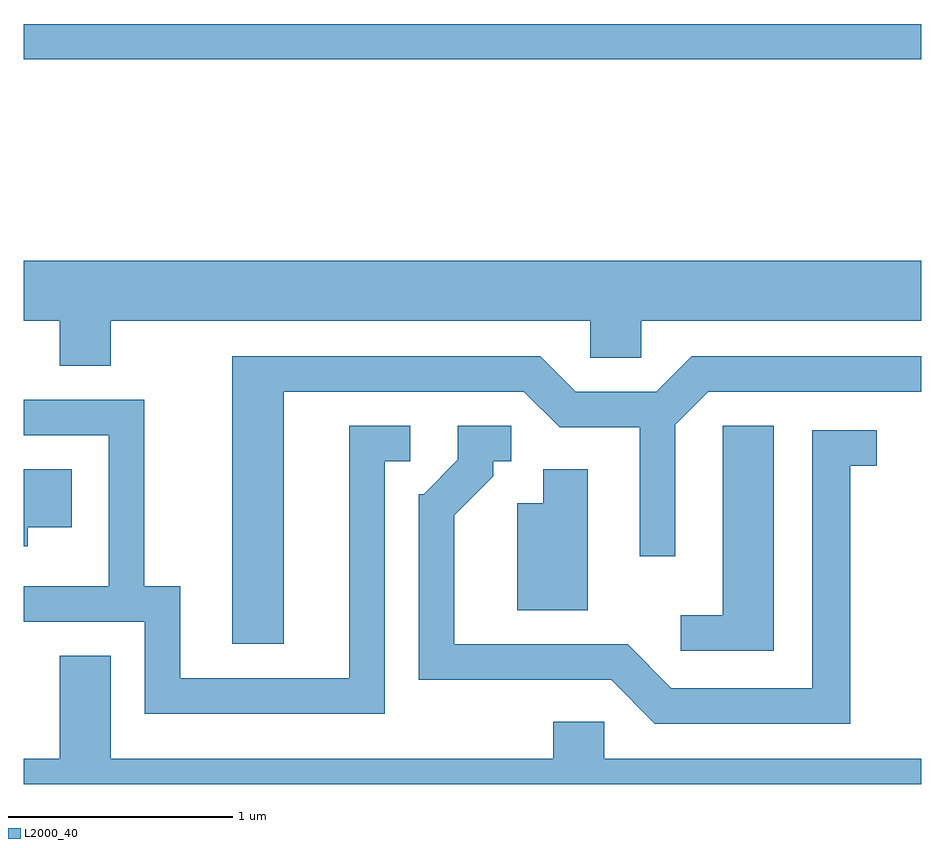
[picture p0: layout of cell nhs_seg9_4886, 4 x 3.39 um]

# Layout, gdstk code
import gdstk
lib = gdstk.Library(unit=1e-6, precision=1e-09)
def R(c, l, rs):  # rectangles x0, y0, x1, y1
    for r in rs: c.add(gdstk.rectangle(r[:2], r[2:], *l))
def P(c, l, *ps):  # polygons
    for p in ps: c.add(gdstk.Polygon(p, *l))
L2000_40 = (2000, 40)

nhs_seg9_4886 = lib.new_cell('nhs_seg9_4886')
R(nhs_seg9_4886, L2000_40, [(329.611,1979.661,333.611,1979.819)])
P(nhs_seg9_4886, L2000_40, [(329.999,1978.496),(332.136,1978.496),(332.136,1978.331),(332.364,1978.331),(332.364,1978.496),(333.611,1978.496),(333.611,1978.764),(329.611,1978.764),(329.611,1978.496),(329.771,1978.496),(329.771,1978.296),(329.999,1978.296)],
  [(330.769,1978.181),(331.839,1978.181),(331.999,1978.021),(332.356,1978.021),(332.356,1977.448),(332.514,1977.448),(332.514,1978.034),(332.662,1978.181),(333.611,1978.181),(333.611,1978.339),(332.589,1978.339),(332.429,1978.179),(332.072,1978.179),(331.912,1978.339),(330.541,1978.339),(330.541,1977.056),(330.769,1977.056)],
  [(331.219,1977.871),(331.333,1977.871),(331.333,1978.029),(331.061,1978.029),(331.061,1976.904),(330.309,1976.904),(330.309,1977.314),(330.149,1977.314),(330.149,1978.144),(329.611,1978.144),(329.611,1977.986),(329.991,1977.986),(329.991,1977.314),(329.611,1977.314),(329.611,1977.156),(330.151,1977.156),(330.151,1976.746),(331.219,1976.746)],
  [(333.294,1977.851),(333.413,1977.851),(333.413,1978.009),(333.126,1978.009),(333.126,1976.859),(332.497,1976.859),(332.302,1977.054),(331.529,1977.054),(331.529,1977.629),(331.704,1977.804),(331.704,1977.871),(331.783,1977.871),(331.783,1978.029),(331.546,1978.029),(331.546,1977.877),(331.394,1977.724),(331.371,1977.724),(331.371,1976.896),(332.229,1976.896),(332.424,1976.701),(333.294,1976.701)],
  [(332.954,1978.029),(332.726,1978.029),(332.726,1977.184),(332.538,1977.184),(332.538,1977.026),(332.954,1977.026)],
  [(332.124,1977.834),(331.926,1977.834),(331.926,1977.684),(331.811,1977.684),(331.811,1977.206),(332.124,1977.206)],
  [(329.629,1977.576),(329.824,1977.576),(329.824,1977.834),(329.611,1977.834),(329.611,1977.491),(329.629,1977.491)],
  [(333.611,1976.544),(332.199,1976.544),(332.199,1976.709),(331.971,1976.709),(331.971,1976.544),(329.999,1976.544),(329.999,1977.004),(329.771,1977.004),(329.771,1976.544),(329.611,1976.544),(329.611,1976.432),(333.611,1976.432)])

lib.write_gds('nhs_seg9_4886.gds')
